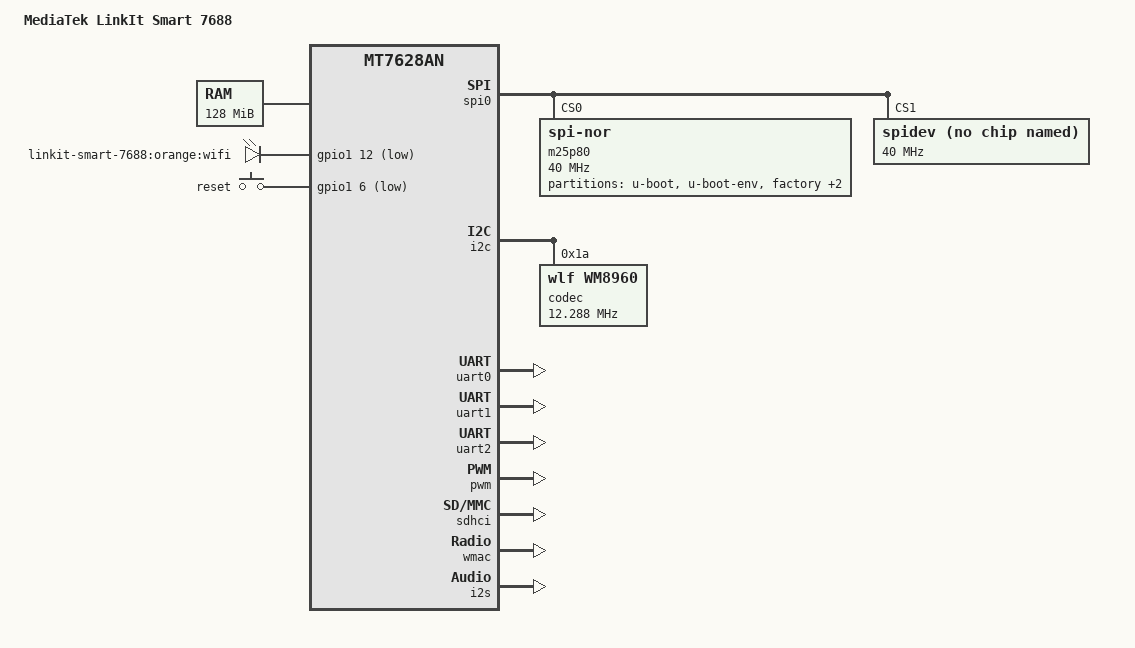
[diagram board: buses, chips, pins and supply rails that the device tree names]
/dts-v1/;

#include "mt7628an.dtsi"

#include <dt-bindings/gpio/gpio.h>
#include <dt-bindings/input/input.h>

/ {
	compatible = "mediatek,linkit-smart-7688", "mediatek,mt7628an-soc";
	model = "MediaTek LinkIt Smart 7688";

	chosen {
		bootargs = "console=ttyS2,57600";
	};

	aliases {
		serial0 = &uart2;
	};

	memory@0 {
		device_type = "memory";
		reg = <0x0 0x8000000>;
	};

	bootstrap {
		compatible = "mediatek,linkit";

		status = "okay";
	};

	gpio-leds {
		compatible = "gpio-leds";

		wifi {
			label = "linkit-smart-7688:orange:wifi";
			gpios = <&gpio1 12 GPIO_ACTIVE_LOW>;
		};
	};

	gpio-keys-polled {
		compatible = "gpio-keys-polled";
		#address-cells = <1>;
		#size-cells = <0>;
		poll-interval = <20>;

		wps {
			label = "reset";
			gpios = <&gpio1 6 GPIO_ACTIVE_LOW>;
			linux,code = <KEY_WPS_BUTTON>;
		};
	};

        sound {
                compatible = "simple-audio-card";
                status = "okay";
                simple-audio-card,format = "i2s";
                simple-audio-card,name = "Audio-I2S";
                simple-audio-card,bitclock-slave = <&dailink0_slave>;
                simple-audio-card,frame-slave = <&dailink0_slave>;
                simple-audio-card,widgets =
                        "Microphone", "Mic Jack",
                        "Line", "Line In",
                        "Line", "Line Out",
                        "Speaker", "Speaker",
                        "Headphone", "Headphone Jack";
                simple-audio-card,routing =
                        "Headphone Jack", "HP_L",
                        "Headphone Jack", "HP_R",
                        "Speaker", "SPK_LP",
                        "Speaker", "SPK_LN",
                        "LINPUT1", "Mic Jack",
                        "LINPUT3", "Mic Jack",
                        "RINPUT1", "Mic Jack",
                        "RINPUT2", "Mic Jack";

                simple-audio-card,mclk-fs = <256>;

                simple-audio-card,cpu {
                      sound-dai = <&i2s>;
                };

                dailink0_slave: simple-audio-card,codec {
                        sound-dai = <&codec>;
                };

                wm8960_mclk: wm8960_mclk {
                        compatible = "fixed-clock";
                        #clock-cells = <0>;
                };

         };
};

&pinctrl {
	state_default: pinctrl0 {
		gpio {
			ralink,group = "gpio";
			ralink,function = "gpio";
		};

		spis {
			ralink,group = "spis";
			ralink,function = "gpio";
		};

		wled_an {
			ralink,group = "wled_an";
			ralink,function = "gpio";
		};

		wdt {
			ralink,group = "wdt";
			ralink,function = "gpio";
		};

           };

           i2s_pins: i2s {
                i2s {
                        ralink,group = "i2s";
                        ralink,function = "i2s";
                };
           };
};

&spi0 {
	status = "okay";

	pinctrl-names = "default";
	pinctrl-0 = <&spi_pins>, <&spi_cs1_pins>;

	m25p80@0 {
		#address-cells = <1>;
		#size-cells = <1>;
		compatible = "jedec,spi-nor";
		reg = <0>;
		spi-max-frequency = <40000000>;
		m25p,chunked-io = <31>;

		partition@0 {
			label = "u-boot";
			reg = <0x0 0x30000>;
			read-only;
		};

		partition@30000 {
			label = "u-boot-env";
			reg = <0x30000 0x10000>;
		};

		factory: partition@40000 {
			label = "factory";
			reg = <0x40000 0x10000>;
		};

		partition@50000 {
			label = "firmware";
			reg = <0x50000 0x1000000>;
		};

		partition@1050000 {
			label = "persistent";
			reg = <0x1050000 0xfb0000>;
		};
	};

	spidev@1 {
		#address-cells = <1>;
		#size-cells = <1>;
		compatible = "linux,spidev";
		reg = <1>;
		spi-max-frequency = <40000000>;
	};
};


&i2c {
	status = "okay";
        codec: wm8960@1a {
                #sound-dai-cells = <0>;
                compatible = "wlf,wm8960";
                reg = <0x1a>;
                clocks = <&wm8960_mclk>;
                clock-names = "mclk";
                clock-frequency = <12288000>;

                wlf,shared-lrclk;
        };
};

&uart0 {
	clock-frequency = <400000000>;
	status = "okay";
};

&uart1 {
	clock-frequency = <40000000>;
	status = "okay";
};

&uart2 {
	clock-frequency = <40000000>;
	status = "okay";
};

&pwm {
	status = "okay";
};

&ethernet {
	mtd-mac-address = <&factory 0x28>;
};

&sdhci {
	status = "okay";
	mediatek,cd-high;
};

&wmac {
	status = "okay";
};

&esw {
	mediatek,portmap = <0x3>;
	mediatek,portdisable = <0x3c>;
};


&i2s {
	#sound-dai-cells = <0>;
	status = "okay";
};

&gdma {
	status = "okay";
};
